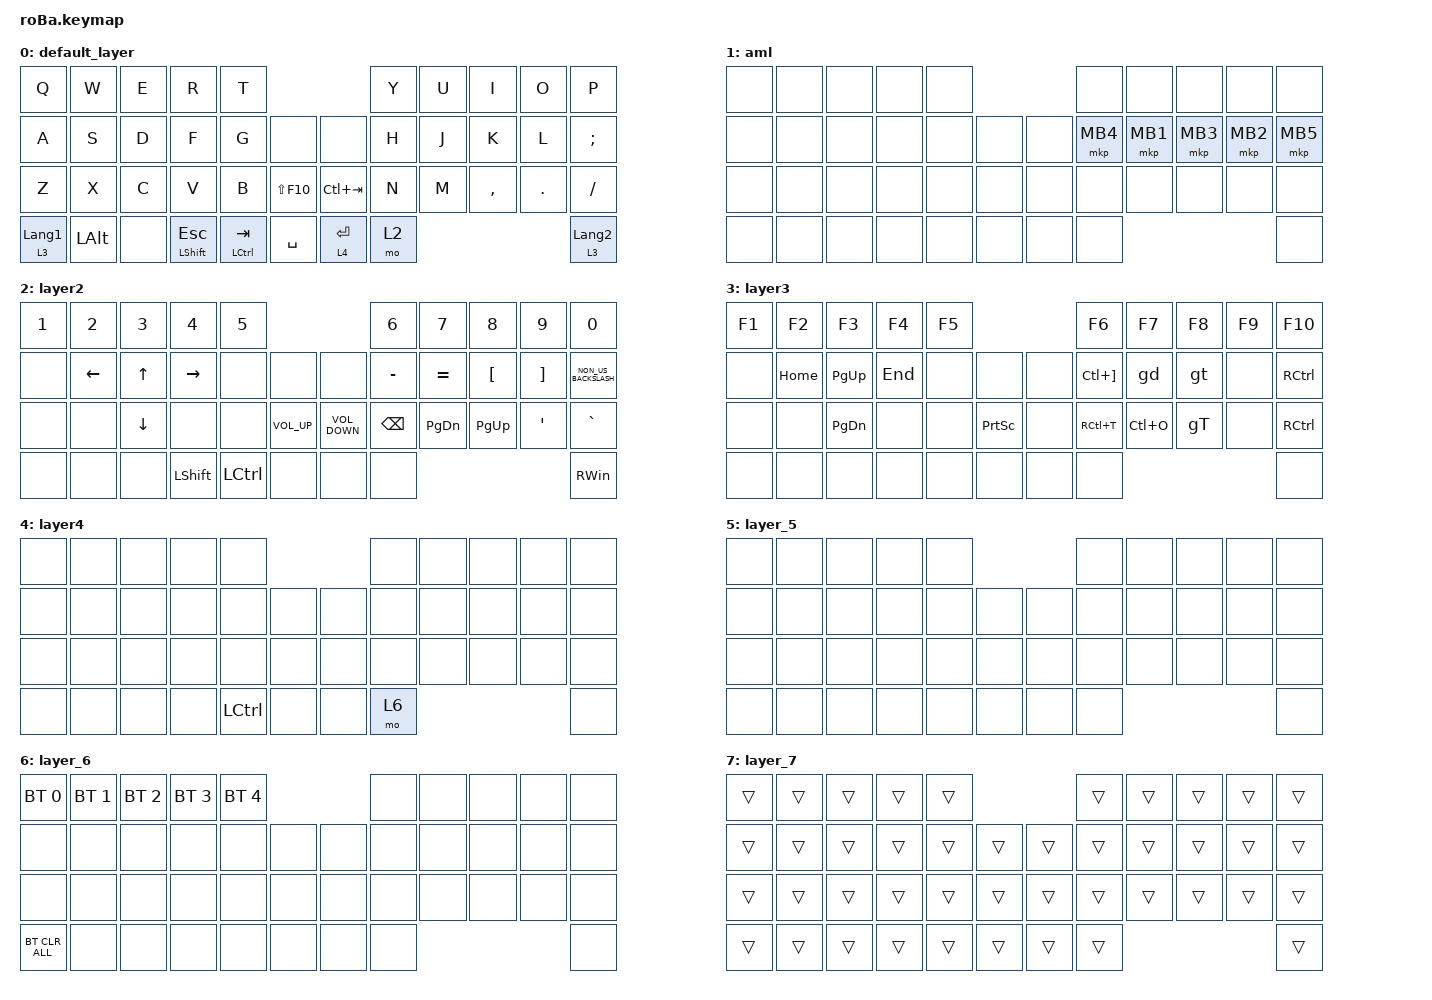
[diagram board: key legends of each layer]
#include <behaviors.dtsi>
#include <dt-bindings/zmk/bt.h>
#include <dt-bindings/zmk/keys.h>
#include <dt-bindings/zmk/pointing.h>

&trackball { scroll-layers = <3>; };

/ {
    combos {
        compatible = "zmk,combos";

        studio {
            bindings = <&studio_unlock>;
            key-positions = <9 34>;
        };
    };

    macros {
        gd: gd {
            compatible = "zmk,behavior-macro";
            #binding-cells = <0>;
            bindings = <&kp G &kp D>;
            label = "GD";
        };

        gt: gt {
            compatible = "zmk,behavior-macro";
            #binding-cells = <0>;
            bindings = <&kp G &kp T>;
            label = "GT";
        };

        gT: glt {
            compatible = "zmk,behavior-macro";
            #binding-cells = <0>;
            bindings = <&kp G &kp LS(T)>;
            label = "glt";
        };
    };

    keymap {
        compatible = "zmk,keymap";

        default_layer {
            bindings = <
&kp Q             &kp W         &kp E  &kp R                  &kp T                                        &kp Y  &kp U  &kp I      &kp O    &kp P
&kp A             &kp S         &kp D  &kp F                  &kp G          &none            &none        &kp H  &kp J  &kp K      &kp L    &kp SEMI
&kp Z             &kp X         &kp C  &kp V                  &kp B          &kp LS(F10)      &kp LC(TAB)  &kp N  &kp M  &kp COMMA  &kp DOT  &kp SLASH
&lt 3 LANGUAGE_1  &kp LEFT_ALT  &none  &mt LEFT_SHIFT ESCAPE  &mt LCTRL TAB  &kp SPACE        &lt 4 ENTER  &mo 2                             &lt 3 LANGUAGE_2
            >;
        };

        aml {
            bindings = <
&none  &none  &none  &none  &none                    &none     &none     &none     &none     &none
&none  &none  &none  &none  &none  &none      &none  &mkp MB4  &mkp MB1  &mkp MB3  &mkp MB2  &mkp MB5
&none  &none  &none  &none  &none  &none      &none  &none     &none     &none     &none     &none
&none  &none  &none  &none  &none  &none      &none  &none                                   &none
            >;
        };

        layer2 {
            bindings = <
&kp NUMBER_1  &kp NUMBER_2    &kp NUMBER_3    &kp NUMBER_4    &kp N5                                             &kp NUMBER_6   &kp N7         &kp N8            &kp N9             &kp N0
&none         &kp LEFT_ARROW  &kp UP_ARROW    &kp RIGHT       &none      &none                &none              &kp MINUS      &kp EQUAL      &kp LEFT_BRACKET  &kp RIGHT_BRACKET  &kp NON_US_BACKSLASH
&none         &none           &kp DOWN_ARROW  &none           &none      &kp C_VOLUME_UP      &kp C_VOLUME_DOWN  &kp BACKSPACE  &kp PAGE_DOWN  &kp PAGE_UP       &kp APOS           &kp GRAVE
&none         &none           &none           &kp LEFT_SHIFT  &kp LCTRL  &none                &none              &none                                                              &kp RIGHT_WIN
            >;
        };

        layer3 {
            bindings = <
&kp F1  &kp F2    &kp F3         &kp F4   &kp F5                              &kp F6                 &kp F7     &kp F8  &kp F9  &kp F10
&none   &kp HOME  &kp PAGE_UP    &kp END  &none   &none                &none  &kp LC(RIGHT_BRACKET)  &gd        &gt     &none   &kp RIGHT_CONTROL
&none   &none     &kp PAGE_DOWN  &none    &none   &kp PRINTSCREEN      &none  &kp RC(T)              &kp LC(O)  &gT     &none   &kp RCTRL
&none   &none     &none          &none    &none   &none                &none  &none                                             &none
            >;
        };

        layer4 {
            bindings = <
&none  &none  &none  &none  &none                        &none  &none  &none  &none  &none
&none  &none  &none  &none  &none      &none      &none  &none  &none  &none  &none  &none
&none  &none  &none  &none  &none      &none      &none  &none  &none  &none  &none  &none
&none  &none  &none  &none  &kp LCTRL  &none      &none  &mo 6                       &none
            >;
        };

        layer_5 {
            bindings = <
&none  &none  &none  &none  &none                    &none  &none  &none  &none  &none
&none  &none  &none  &none  &none  &none      &none  &none  &none  &none  &none  &none
&none  &none  &none  &none  &none  &none      &none  &none  &none  &none  &none  &none
&none  &none  &none  &none  &none  &none      &none  &none                       &none
            >;
        };

        layer_6 {
            bindings = <
&bt BT_SEL 0    &bt BT_SEL 1  &bt BT_SEL 2  &bt BT_SEL 3  &bt BT_SEL 4                    &none  &none  &none  &none  &none
&none           &none         &none         &none         &none         &none      &none  &none  &none  &none  &none  &none
&none           &none         &none         &none         &none         &none      &none  &none  &none  &none  &none  &none
&bt BT_CLR_ALL  &none         &none         &none         &none         &none      &none  &none                       &none
            >;
        };

        layer_7 {
            bindings = <
&trans  &trans  &trans  &trans  &trans                      &trans  &trans  &trans  &trans  &trans
&trans  &trans  &trans  &trans  &trans  &trans      &trans  &trans  &trans  &trans  &trans  &trans
&trans  &trans  &trans  &trans  &trans  &trans      &trans  &trans  &trans  &trans  &trans  &trans
&trans  &trans  &trans  &trans  &trans  &trans      &trans  &trans                          &trans
            >;
        };
    };
};
